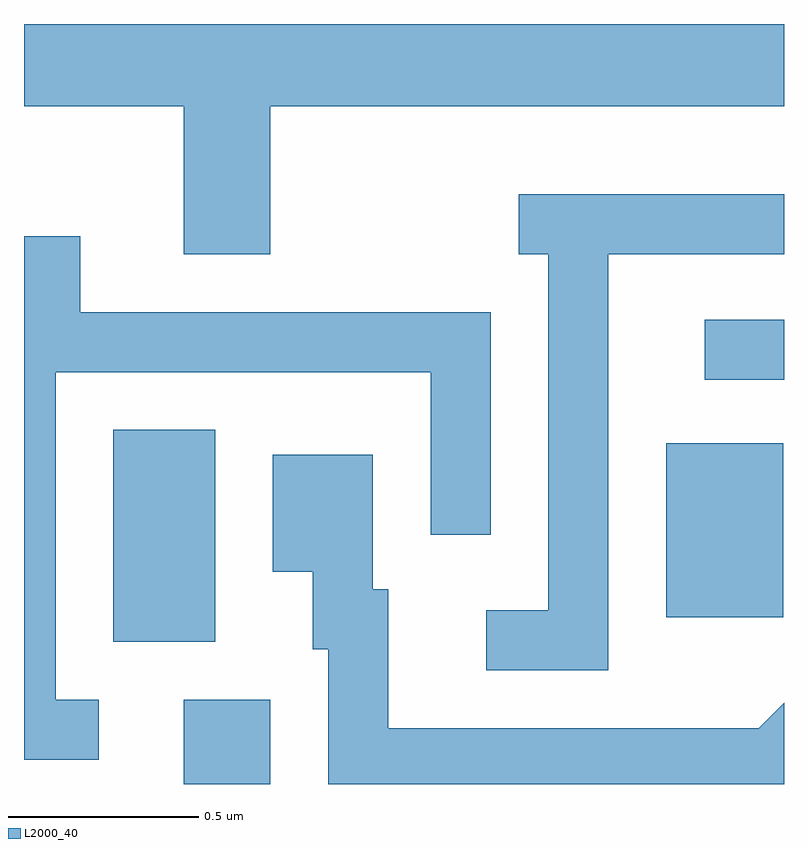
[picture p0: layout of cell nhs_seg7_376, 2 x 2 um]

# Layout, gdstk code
import gdstk
lib = gdstk.Library(unit=1e-6, precision=1e-09)
def R(c, l, rs):  # rectangles x0, y0, x1, y1
    for r in rs: c.add(gdstk.rectangle(r[:2], r[2:], *l))
def P(c, l, *ps):  # polygons
    for p in ps: c.add(gdstk.Polygon(p, *l))
L2000_40 = (2000, 40)

nhs_seg7_376 = lib.new_cell('nhs_seg7_376')
R(nhs_seg7_376, L2000_40, [(188.031,1770.252,188.259,1770.474), (187.846,1770.626,188.114,1771.184), (189.301,1770.691,189.609,1771.149), (189.403,1771.316,189.611,1771.474)])
P(nhs_seg7_376, L2000_40, [(188.259,1772.036),(189.611,1772.036),(189.611,1772.252),(187.611,1772.252),(187.611,1772.036),(188.031,1772.036),(188.031,1771.646),(188.259,1771.646)],
  [(189.149,1771.646),(189.611,1771.646),(189.611,1771.804),(188.913,1771.804),(188.913,1771.646),(188.991,1771.646),(188.991,1770.709),(188.828,1770.709),(188.828,1770.551),(189.149,1770.551)],
  [(187.808,1770.474),(187.694,1770.474),(187.694,1771.336),(188.681,1771.336),(188.681,1770.908),(188.839,1770.908),(188.839,1771.494),(187.759,1771.494),(187.759,1771.694),(187.611,1771.694),(187.611,1770.316),(187.808,1770.316)],
  [(189.611,1770.466),(189.544,1770.399),(188.569,1770.399),(188.569,1770.764),(188.529,1770.764),(188.529,1771.119),(188.266,1771.119),(188.266,1770.811),(188.371,1770.811),(188.371,1770.606),(188.411,1770.606),(188.411,1770.252),(189.611,1770.252)])

lib.write_gds('nhs_seg7_376.gds')
